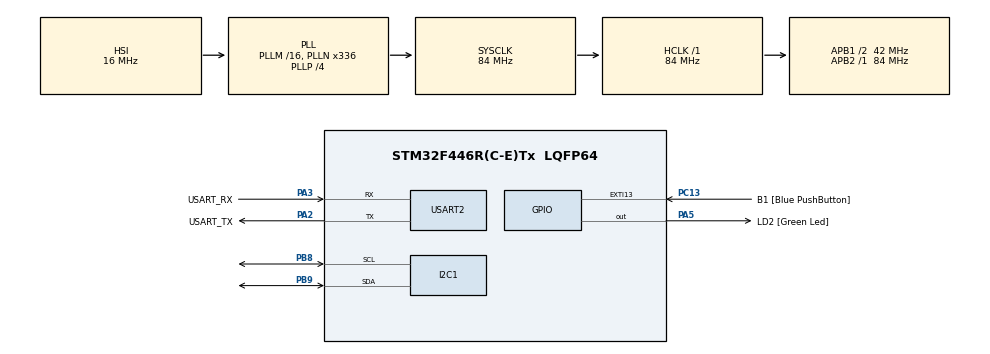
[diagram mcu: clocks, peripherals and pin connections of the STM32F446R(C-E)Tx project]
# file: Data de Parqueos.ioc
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I2C1.I2C_Mode=I2C_Standard
Mcu.Family=STM32F4
Mcu.Name=STM32F446R(C-E)Tx
Mcu.Package=LQFP64
NVIC.PriorityGroup=NVIC_PRIORITYGROUP_0
PA13.GPIO_Label=TMS
PA13.Mode=Serial_Wire
PA13.Signal=SYS_JTMS-SWDIO
PA14.GPIO_Label=TCK
PA14.Mode=Serial_Wire
PA14.Signal=SYS_JTCK-SWCLK
PA2.GPIO_Label=USART_TX
PA2.Mode=Asynchronous
PA2.Signal=USART2_TX
PA3.GPIO_Label=USART_RX
PA3.Mode=Asynchronous
PA3.Signal=USART2_RX
PA5.GPIO_Label=LD2 [Green Led]
PA5.Signal=GPIO_Output
PB3.GPIO_Label=SWO
PB3.Signal=SYS_JTDO-SWO
PB8.Mode=I2C
PB8.Signal=I2C1_SCL
PB9.Mode=I2C
PB9.Signal=I2C1_SDA
PC13.GPIO_Label=B1 [Blue PushButton]
PC13.GPIO_ModeDefaultEXTI=GPIO_MODE_IT_FALLING
PC13.Signal=GPXTI13
PC14-OSC32_IN.Mode=LSE-External-Oscillator
PC14-OSC32_IN.Signal=RCC_OSC32_IN
PC15-OSC32_OUT.Mode=LSE-External-Oscillator
PC15-OSC32_OUT.Signal=RCC_OSC32_OUT
PH0-OSC_IN.Mode=HSE-External-Oscillator
PH0-OSC_IN.Signal=RCC_OSC_IN
PH1-OSC_OUT.Mode=HSE-External-Oscillator
PH1-OSC_OUT.Signal=RCC_OSC_OUT
ProjectManager.HeapSize=0x200
ProjectManager.StackSize=0x400
ProjectManager.TargetToolchain=STM32CubeIDE
RCC.48MHZClocksFreq_Value=84000000
RCC.AHBFreq_Value=84000000
RCC.APB1CLKDivider=RCC_HCLK_DIV2
RCC.APB1Freq_Value=42000000
RCC.APB1TimFreq_Value=84000000
RCC.APB2Freq_Value=84000000
RCC.APB2TimFreq_Value=84000000
RCC.CortexFreq_Value=84000000
RCC.FLatency-AdvancedSettings=FLASH_LATENCY_2
RCC.HCLKFreq_Value=84000000
RCC.HSE_VALUE=8000000
RCC.HSI_VALUE=16000000
RCC.PLLN=336
RCC.PLLP=RCC_PLLP_DIV4
RCC.SYSCLKFreq_VALUE=84000000
RCC.SYSCLKSource=RCC_SYSCLKSOURCE_PLLCLK
RCC.USBFreq_Value=168000000
RCC.VCOOutputFreq_Value=336000000
USART2.VirtualMode=VM_ASYNC
board=NUCLEO-F446RE

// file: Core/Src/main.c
/* USER CODE BEGIN Header */
/**
  ******************************************************************************
  * @file           : main.c
  * @brief          : Main program body
  ******************************************************************************
  * @attention
  *
  * Copyright (c) 2025 STMicroelectronics.
  * All rights reserved.
  *
  * This software is licensed under terms that can be found in the LICENSE file
  * in the root directory of this software component.
  * If no LICENSE file comes with this software, it is provided AS-IS.
  *
  ******************************************************************************
  */
/* USER CODE END Header */
#include "main.h"

/* USER CODE BEGIN Includes */
#include <stdint.h>   /* uint8_t, etc. */
/* USER CODE END Includes */

/* USER CODE BEGIN PD */
/* Dirección I2C de 7 bits del ESP32 en modo esclavo (debe coincidir con Wire.begin(0x28)) */
#define ESP32_I2C_ADDR_7B   (0x28)

/* Intervalo entre envíos (ms) */
#define ENVIO_MS            (10000U)
/* USER CODE END PD */

I2C_HandleTypeDef hi2c1;

UART_HandleTypeDef huart2;

/* USER CODE BEGIN PV */
/* Secuencia determinística de 16 estados para los 8 parqueos (1=ocupado, 0=libre) */
static const uint8_t g_patrones[] = {
    0x00,                   /* todos libres */
    0x01, 0x03, 0x07, 0x0F,
    0x1F, 0x3F, 0x7F, 0xFF, /* llenado progresivo */
    0x55, 0xAA,             /* ajedrez */
    0x18, 0x3C, 0x7E, 0xFF, /* centro->afuera */
    0x00                    /* limpiar */
};
static const uint32_t g_num_patrones = (uint32_t)(sizeof(g_patrones)/sizeof(g_patrones[0]));
static uint32_t g_idx_patron = 0;
/* USER CODE END PV */

void SystemClock_Config(void);
static void MX_GPIO_Init(void);
static void MX_USART2_UART_Init(void);
static void MX_I2C1_Init(void);
/* USER CODE BEGIN PFP */
/* Envía 1 byte por I2C al ESP32 (bloqueante sencillo para la demo) */
static void Enviar_Estado_Parqueos(uint8_t estado);
/* USER CODE END PFP */

/* USER CODE BEGIN 0 */
/* Implementación: transmite 1 byte al esclavo 0x28 por I2C1 */
static void Enviar_Estado_Parqueos(uint8_t estado)
{
  /* HAL usa dirección de 8 bits internamente: (addr7b << 1) */
  (void)HAL_I2C_Master_Transmit(&hi2c1, (ESP32_I2C_ADDR_7B << 1), &estado, 1, 10);

  /* Indicación visual opcional en el LED on-board (LD2) por ~50 ms */
  HAL_GPIO_WritePin(LD2_GPIO_Port, LD2_Pin, GPIO_PIN_SET);
  HAL_Delay(50);
  HAL_GPIO_WritePin(LD2_GPIO_Port, LD2_Pin, GPIO_PIN_RESET);
}
/* USER CODE END 0 */

int main(void)
{

  /* MCU Configuration--------------------------------------------------------*/

  /* Reset of all peripherals, Initializes the Flash interface and the Systick. */
  HAL_Init();

  /* Configure the system clock */
  SystemClock_Config();

  /* Initialize all configured peripherals */
  MX_GPIO_Init();
  MX_USART2_UART_Init();
  MX_I2C1_Init();
  /* USER CODE BEGIN 2 */
  /* Envío inicial para que la página del ESP32 muestre un estado desde el arranque */
  Enviar_Estado_Parqueos(g_patrones[g_idx_patron]);
  uint32_t t_next = HAL_GetTick() + ENVIO_MS;
  /* USER CODE END 2 */

  /* Infinite loop */
  while (1)
  {

    /* USER CODE BEGIN 3 */
    /* Enviar el siguiente patrón cada ENVIO_MS milisegundos (no bloqueante largo) */
    uint32_t now = HAL_GetTick();
    if ((int32_t)(now - t_next) >= 0)
    {
      /* Avanza al siguiente estado con wrap-around */
      g_idx_patron++;
      if (g_idx_patron >= g_num_patrones) { g_idx_patron = 0; }

      /* Transmite el byte del estado actual */
      Enviar_Estado_Parqueos(g_patrones[g_idx_patron]);

      /* Programa el próximo envío */
      t_next += ENVIO_MS;
    }

    /* (Opcional) otras tareas aquí */
  }
  /* USER CODE END 3 */
}

void SystemClock_Config(void)
{
  RCC_OscInitTypeDef RCC_OscInitStruct = {0};
  RCC_ClkInitTypeDef RCC_ClkInitStruct = {0};

  /** Configure the main internal regulator output voltage
  */
  __HAL_RCC_PWR_CLK_ENABLE();
  __HAL_PWR_VOLTAGESCALING_CONFIG(PWR_REGULATOR_VOLTAGE_SCALE3);

  /** Initializes the RCC Oscillators according to the specified parameters
  * in the RCC_OscInitTypeDef structure.
  */
  RCC_OscInitStruct.OscillatorType = RCC_OSCILLATORTYPE_HSI;
  RCC_OscInitStruct.HSIState = RCC_HSI_ON;
  RCC_OscInitStruct.HSICalibrationValue = RCC_HSICALIBRATION_DEFAULT;
  RCC_OscInitStruct.PLL.PLLState = RCC_PLL_ON;
  RCC_OscInitStruct.PLL.PLLSource = RCC_PLLSOURCE_HSI;
  RCC_OscInitStruct.PLL.PLLM = 16;
  RCC_OscInitStruct.PLL.PLLN = 336;
  RCC_OscInitStruct.PLL.PLLP = RCC_PLLP_DIV4;
  RCC_OscInitStruct.PLL.PLLQ = 2;
  RCC_OscInitStruct.PLL.PLLR = 2;
  if (HAL_RCC_OscConfig(&RCC_OscInitStruct) != HAL_OK)
  {
    Error_Handler();
  }

  /** Initializes the CPU, AHB and APB buses clocks
  */
  RCC_ClkInitStruct.ClockType = RCC_CLOCKTYPE_HCLK|RCC_CLOCKTYPE_SYSCLK
                              |RCC_CLOCKTYPE_PCLK1|RCC_CLOCKTYPE_PCLK2;
  RCC_ClkInitStruct.SYSCLKSource = RCC_SYSCLKSOURCE_PLLCLK;
  RCC_ClkInitStruct.AHBCLKDivider = RCC_SYSCLK_DIV1;
  RCC_ClkInitStruct.APB1CLKDivider = RCC_HCLK_DIV2;
  RCC_ClkInitStruct.APB2CLKDivider = RCC_HCLK_DIV1;

  if (HAL_RCC_ClockConfig(&RCC_ClkInitStruct, FLASH_LATENCY_2) != HAL_OK)
  {
    Error_Handler();
  }
}

static void MX_I2C1_Init(void)
{

  /* USER CODE BEGIN I2C1_Init 0 */
  /* Nota: configurar en CubeMX PB8=I2C1_SCL y PB9=I2C1_SDA (AF4, Open-Drain, sin pull), 100 kHz */
  /* USER CODE END I2C1_Init 0 */

  hi2c1.Instance = I2C1;
  hi2c1.Init.ClockSpeed = 100000;
  hi2c1.Init.DutyCycle = I2C_DUTYCYCLE_2;
  hi2c1.Init.OwnAddress1 = 0;
  hi2c1.Init.AddressingMode = I2C_ADDRESSINGMODE_7BIT;
  hi2c1.Init.DualAddressMode = I2C_DUALADDRESS_DISABLE;
  hi2c1.Init.OwnAddress2 = 0;
  hi2c1.Init.GeneralCallMode = I2C_GENERALCALL_DISABLE;
  hi2c1.Init.NoStretchMode = I2C_NOSTRETCH_DISABLE;
  if (HAL_I2C_Init(&hi2c1) != HAL_OK)
  {
    Error_Handler();
  }

}

static void MX_USART2_UART_Init(void)
{

  huart2.Instance = USART2;
  huart2.Init.BaudRate = 115200;
  huart2.Init.WordLength = UART_WORDLENGTH_8B;
  huart2.Init.StopBits = UART_STOPBITS_1;
  huart2.Init.Parity = UART_PARITY_NONE;
  huart2.Init.Mode = UART_MODE_TX_RX;
  huart2.Init.HwFlowCtl = UART_HWCONTROL_NONE;
  huart2.Init.OverSampling = UART_OVERSAMPLING_16;
  if (HAL_UART_Init(&huart2) != HAL_OK)
  {
    Error_Handler();
  }

}

static void MX_GPIO_Init(void)
{
  GPIO_InitTypeDef GPIO_InitStruct = {0};

  /* GPIO Ports Clock Enable */
  __HAL_RCC_GPIOC_CLK_ENABLE();
  __HAL_RCC_GPIOH_CLK_ENABLE();
  __HAL_RCC_GPIOA_CLK_ENABLE();
  __HAL_RCC_GPIOB_CLK_ENABLE();

  /*Configure GPIO pin Output Level */
  HAL_GPIO_WritePin(LD2_GPIO_Port, LD2_Pin, GPIO_PIN_RESET);

  /*Configure GPIO pin : B1_Pin */
  GPIO_InitStruct.Pin = B1_Pin;
  GPIO_InitStruct.Mode = GPIO_MODE_IT_FALLING;
  GPIO_InitStruct.Pull = GPIO_NOPULL;
  HAL_GPIO_Init(B1_GPIO_Port, &GPIO_InitStruct);

  /*Configure GPIO pin : LD2_Pin */
  GPIO_InitStruct.Pin = LD2_Pin;
  GPIO_InitStruct.Mode = GPIO_MODE_OUTPUT_PP;
  GPIO_InitStruct.Pull = GPIO_NOPULL;
  GPIO_InitStruct.Speed = GPIO_SPEED_FREQ_LOW;
  HAL_GPIO_Init(LD2_GPIO_Port, &GPIO_InitStruct);

}

void Error_Handler(void)
{
  __disable_irq();
  while (1)
  {
  }
}
